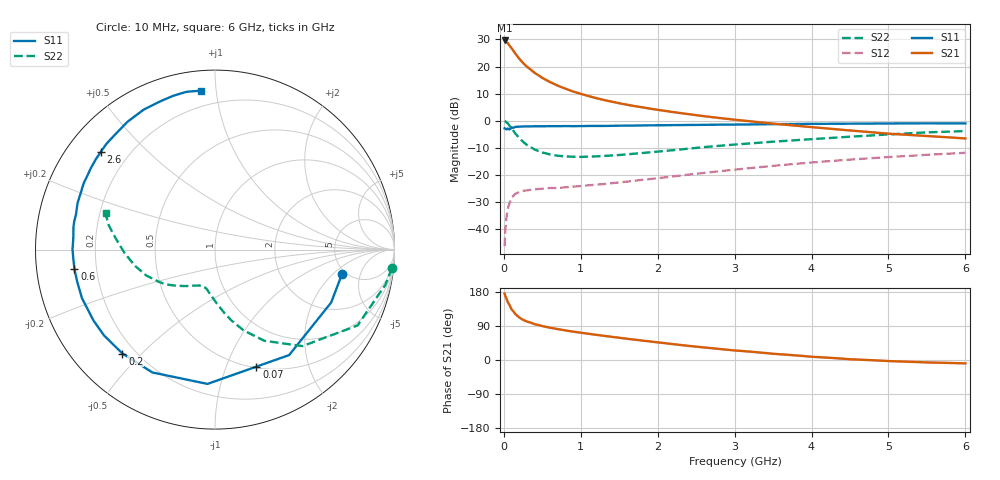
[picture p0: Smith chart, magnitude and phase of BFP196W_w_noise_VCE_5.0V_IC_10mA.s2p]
! Infineon Technologies  Discrete & RF Semiconductors
! BFP196W
! VCE =  5.0 V,  IC =  10 mA
! Common Emitter S-Parameters:  Jan 2017
# GHz  S  MA  R  50
!  f  S11  S21  S12  S22
! GHz  MAG  ANG  MAG  ANG  MAG  ANG  MAG  ANG
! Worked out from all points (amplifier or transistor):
!   77 points, 10 MHz to 6 GHz, reference 50 ohm
!   highest |S21| = 29.6 dB at 10 MHz (marker M1)
!   |S21| within 3 dB of that: start of sweep to 104.1 MHz
!   unconditionally stable (mu >= 1): 1.26 GHz to 3.198 GHz
!   at 130 MHz: K = 0.15, MSG = 26.6 dB, |S12| = -27.6 dB
!   at 2.2 GHz: K = 1.09, MAG = 10.1 dB, |S12| = -20.6 dB
!   at 6 GHz: K = 0.89, MSG = 2.7 dB, |S12| = -11.9 dB
!   lowest NFmin = 0.91 dB at 450 MHz
!   S11 on the Smith chart (normalised r, x): 10 MHz: 4.57, -2.64; 70 MHz: 0.51, -1.28; 200 MHz: 0.15, -0.44; 600 MHz: 0.12, -0.07; 2.6 GHz: 0.10, +0.37; 6 GHz: 0.11, +0.91
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0.01  0.7202 -11.1  30.34 175.3  0.0048 84.8  0.9905 -6.0
0.02  0.7112 -24.5  29.66 168.8  0.01 82.8  0.9698 -11.6
0.05  0.7183 -54.9  27.3 153.3  0.0234 65.5  0.8998 -28.0
0.07  0.6917 -70.5  24.8 146.5  0.0287 56.9  0.8189 -34.9
0.1  0.7495 -93.2  21.89 133.6  0.0375 48.9  0.7256 -47.8
0.15  0.7683 -117.0  17.31 121.1  0.0445 38.9  0.5776 -61.6
0.2  0.7754 -131.7  13.99 112.3  0.0479 33.5  0.4788 -70.4
0.25  0.7817 -142.3  11.64 106.0  0.0505 29.3  0.4066 -76.8
0.3  0.784 -149.8  9.922 101.5  0.0515 27.3  0.3562 -81.7
0.4  0.789 -160.0  7.642 94.5  0.054 25.7  0.2935 -89.0
0.5  0.7884 -167.0  6.168 89.5  0.0552 25.4  0.2584 -94.5
0.6  0.7906 -172.2  5.177 85.2  0.057 25.7  0.2377 -98.7
0.7  0.791 -176.5  4.443 81.6  0.0569 26.8  0.2247 -101.9
0.8  0.794 179.8  3.901 78.1  0.0588 29.1  0.2186 -104.8
1.1  0.7987 170.9  2.851 69.3  0.0639 33.7  0.2167 -111.7
1.5  0.8084 161.4  2.098 58.7  0.0723 39.3  0.2321 -120.4
2.1  0.8239 148.5  1.512 44.3  0.0898 45.9  0.2762 -132.9
2.6  0.8378 139.3  1.212 33.1  0.108 48.1  0.3244 -142.8
3.1  0.8491 130.8  1.008 23.7  0.1286 48.1  0.3707 -152.4
4.1  0.8754 115.7  0.739 7.4  0.1731 44.2  0.465 -170.8
5.1  0.8887 104.1  0.564 -3.5  0.2166 37.1  0.5666 172.1
6  0.8891 95.2  0.47 -8.9  0.2549 29.8  0.6429 161.6
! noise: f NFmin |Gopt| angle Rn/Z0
0.45  0.91  0.36  146  0.06
0.9  1.19  0.53  168  0.05
1.9  2.27  0.71  -158  0.1
2.4  2.77  0.76  -149  0.22
